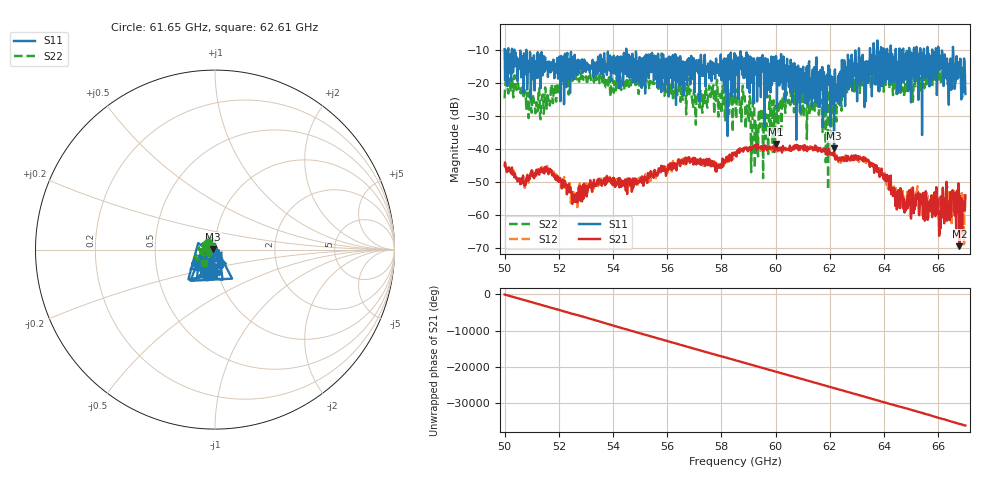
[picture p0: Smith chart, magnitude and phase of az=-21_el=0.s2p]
!Created with skrf (http://scikit-rf.org).
# GHz S RI R 50.0
!freq ReS11 ImS11 ReS21 ImS21 ReS12 ImS12 ReS22 ImS22
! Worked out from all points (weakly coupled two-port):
!   1001 points, 50 GHz to 67 GHz, reference 50 ohm
!   highest |S21| = -38.44 dB at 60 GHz (marker M1); lowest = -69.4 dB at 66.78 GHz (marker M2)
!   lowest |S11| = -39.8 dB at 62.16 GHz (marker M3), VSWR 1.02, Z = 49.1 + j0.366 ohm
!   |S11| at or under -10 dB: 50.8 GHz to 54.49 GHz (3.688 GHz wide, 7.01 % of centre); 54.49 GHz to 63.07 GHz (8.582 GHz wide, 14.6 % of centre); 66.01 GHz to 66.54 GHz (531.9 MHz wide, 0.803 % of centre) (the widest 3 of 28)
!   |S22| runs from -52.3 to -14.0 dB; largest |S21 - S12| = 0.0021
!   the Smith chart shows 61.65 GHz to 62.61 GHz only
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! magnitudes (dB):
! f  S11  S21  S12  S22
! 50 GHz  -9.8  -45.0  -45.0  -24.7
! 50.7 GHz  -23.1  -50.5  -50.0  -23.2
! 51.38 GHz  -16.3  -46.2  -46.3  -24.5
! 52.84 GHz  -13.7  -53.2  -53.5  -19.5
! 55.68 GHz  -13.5  -45.9  -47.6  -21.8
! 56.99 GHz  -15.1  -42.6  -43.3  -21.9
! 58.5 GHz  -24.4  -41.7  -41.9  -24.2
! 58.86 GHz  -18.5  -39.6  -40.2  -24.0
! 59.32 GHz  -25.6  -38.5  -39.8  -34.5
! 60 GHz  -18.5  -38.4  -39.5  -26.9
! 60.64 GHz  -14.2  -40.0  -39.4  -22.6
! 61.34 GHz  -27.1  -39.4  -39.4  -26.1
! 61.88 GHz  -28.7  -40.9  -41.3  -23.2
! 62.16 GHz  -39.8  -40.9  -41.9  -28.3
! 63.12 GHz  -12.5  -42.5  -42.9  -20.4
! 63.36 GHz  -19.0  -43.6  -43.8  -18.9
! 63.69 GHz  -20.5  -45.0  -45.7  -16.5
! 64.18 GHz  -18.8  -48.3  -50.4  -18.5
! 64.77 GHz  -19.0  -56.5  -56.9  -20.0
! 66.08 GHz  -15.7  -64.0  -60.5  -15.7
! 66.78 GHz  -16.6  -69.4  -56.3  -14.8
! 67 GHz  -23.4  -54.0  -57.7  -15.7
